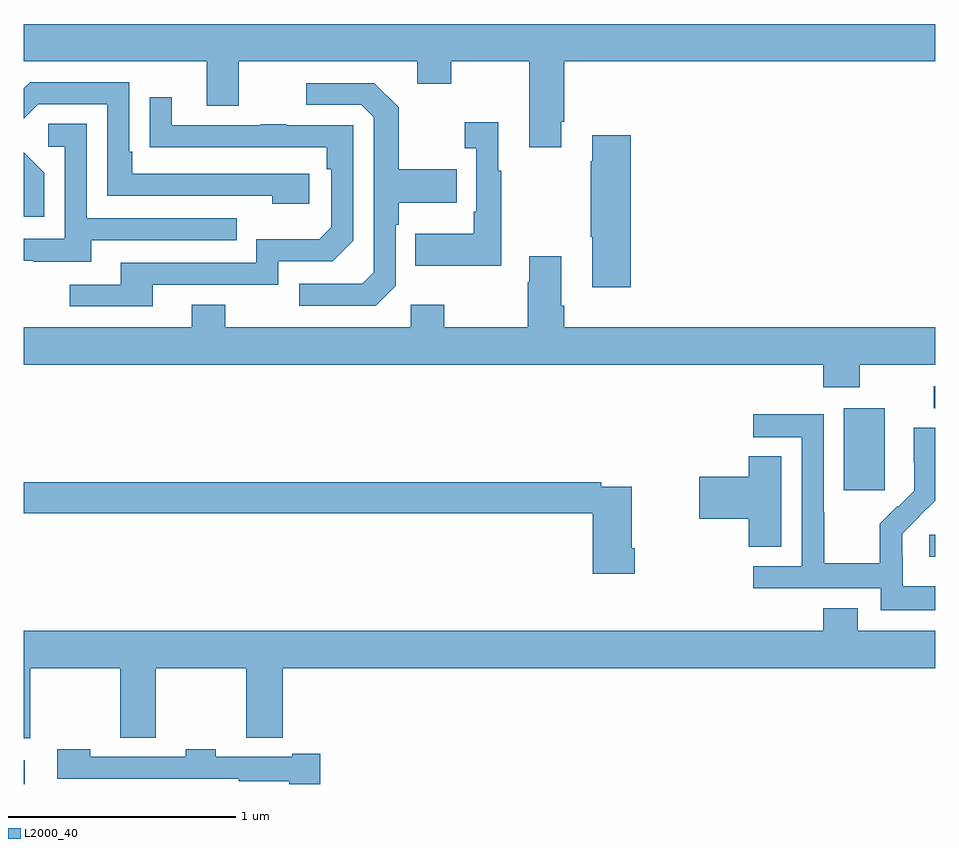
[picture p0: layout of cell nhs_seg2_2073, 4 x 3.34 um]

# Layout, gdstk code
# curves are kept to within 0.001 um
import gdstk
lib = gdstk.Library(unit=1e-6, precision=1e-09)
def R(c, l, rs):  # rectangles x0, y0, x1, y1
    for r in rs: c.add(gdstk.rectangle(r[:2], r[2:], *l))
def P(c, l, *ps):  # polygons
    for p in ps: c.add(gdstk.Polygon(p, *l))
L2000_40 = (2000, 40)

nhs_seg2_2073 = lib.new_cell('nhs_seg2_2073')
R(nhs_seg2_2073, L2000_40, [(219,641.8,219.004,641.905), (222.975,642.797,223,642.894), (222.599,643.089,222.778,643.45), (222.993,643.449,223,643.545)])
P(nhs_seg2_2073, L2000_40, [(221.359,644.707),(221.372,644.707),(221.372,644.972),(223,644.972),(223,645.136),(219,645.136),(219,644.972),(219.803,644.972),(219.803,644.778),(219.943,644.778),(219.943,644.972),(220.727,644.972),(220.727,644.873),(220.875,644.873),(220.875,644.972),(221.219,644.972),(221.219,644.595),(221.359,644.595)],
  [(220.252,644.478),(219.475,644.478),(219.475,644.575),(219.462,644.575),(219.462,644.88),(219.027,644.88),(219,644.853),(219,644.721),(219.063,644.784),(219.366,644.784),(219.366,644.382),(220.091,644.382),(220.091,644.348),(220.252,644.348)],
  [(220.632,643.986),(220.632,644.255),(220.645,644.255),(220.645,644.351),(220.901,644.351),(220.901,644.499),(220.645,644.499),(220.645,644.771),(220.539,644.877),(220.239,644.877),(220.239,644.781),(220.482,644.781),(220.536,644.727),(220.536,644.046),(220.485,643.995),(220.209,643.995),(220.209,643.899),(220.545,643.899)],
  [(219.565,643.992),(220.116,643.992),(220.116,644.094),(220.356,644.094),(220.446,644.184),(220.446,644.691),(220.151,644.691),(220.151,644.696),(220.039,644.696),(220.039,644.691),(219.649,644.691),(219.649,644.815),(219.553,644.815),(219.553,644.596),(220.33,644.595),(220.33,644.498),(220.35,644.498),(220.35,644.244),(220.297,644.191),(220.02,644.191),(220.02,644.088),(219.425,644.088),(219.425,643.992),(219.201,643.992),(219.201,643.896),(219.565,643.896)],
  [(221.095,644.491),(221.083,644.491),(221.083,644.704),(220.935,644.704),(220.935,644.591),(220.986,644.591),(220.986,644.311),(220.974,644.311),(220.974,644.215),(220.717,644.215),(220.717,644.075),(221.095,644.075)],
  [(219.295,644.187),(219.935,644.187),(219.935,644.283),(219.276,644.283),(219.276,644.699),(219.108,644.699),(219.108,644.598),(219.18,644.598),(219.18,644.193),(219,644.193),(219,644.097),(219.041,644.097),(219.041,644.093),(219.295,644.093)],
  [(221.663,644.647),(221.495,644.647),(221.495,644.534),(221.488,644.534),(221.488,644.203),(221.495,644.203),(221.495,643.98),(221.663,643.98)],
  [(219.09,644.482),(219,644.572),(219,644.289),(219.09,644.289)],
  [(222.669,643.64),(223,643.64),(223,643.804),(221.372,643.804),(221.372,643.9),(221.359,643.9),(221.359,644.116),(221.219,644.116),(221.219,644.003),(221.212,644.003),(221.212,643.804),(220.845,643.804),(220.845,643.903),(220.698,643.903),(220.698,643.804),(219.885,643.804),(219.885,643.903),(219.737,643.903),(219.737,643.804),(219,643.804),(219,643.64),(222.509,643.64),(222.509,643.541),(222.669,643.541)],
  [(223,642.667),(222.858,642.667),(222.858,642.801),(222.856,642.801),(222.856,642.898),(223,643.044),(223,643.364),(222.906,643.364),(222.906,643.21),(222.908,643.21),(222.908,643.088),(222.837,643.017),(222.834,643.02),(222.757,642.943),(222.757,642.769),(222.513,642.769),(222.513,642.992),(222.51,642.992),(222.51,643.422),(222.201,643.422),(222.201,643.323),(222.414,643.323),(222.414,642.756),(222.201,642.756),(222.201,642.66),(222.762,642.66),(222.762,642.563),(223,642.563)],
  [(222.325,643.238),(222.182,643.238),(222.182,643.148),(221.964,643.148),(221.964,642.965),(222.182,642.965),(222.182,642.841),(222.325,642.841)],
  [(221.681,642.835),(221.668,642.835),(221.668,643.104),(221.534,643.104),(221.534,643.124),(219,643.124),(219,642.988),(221.498,642.988),(221.498,642.723),(221.681,642.723)],
  [(219.027,642.308),(219.424,642.308),(219.424,642.004),(219.578,642.004),(219.578,642.308),(219.976,642.308),(219.976,642.004),(220.136,642.004),(220.136,642.308),(223,642.308),(223,642.472),(222.661,642.472),(222.661,642.571),(222.509,642.571),(222.509,642.472),(219,642.472),(219,642),(219.027,642)],
  [(220.301,641.932),(220.178,641.932),(220.178,641.919),(219.843,641.919),(219.843,641.952),(219.711,641.952),(219.711,641.919),(219.291,641.919),(219.291,641.952),(219.147,641.952),(219.147,641.823),(219.943,641.823),(219.943,641.811),(220.165,641.811),(220.165,641.8),(220.301,641.8)])

lib.write_gds('nhs_seg2_2073.gds')
